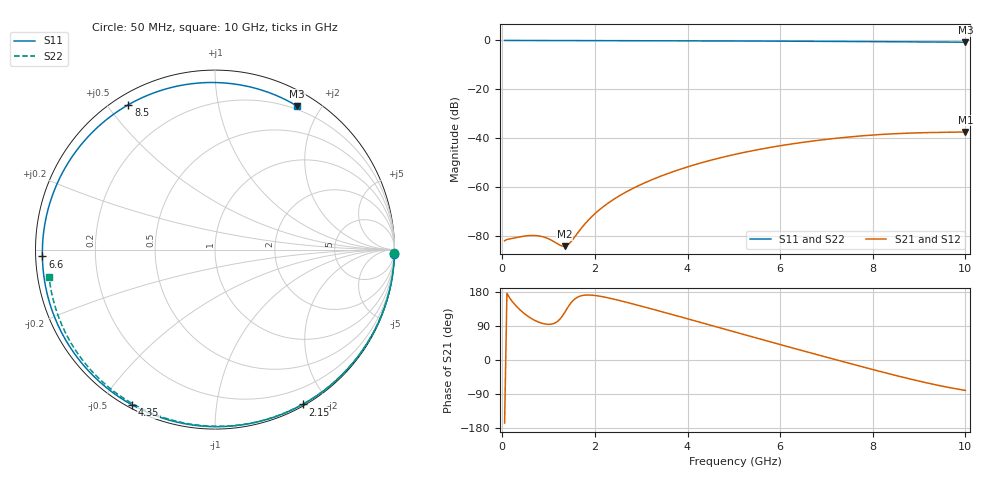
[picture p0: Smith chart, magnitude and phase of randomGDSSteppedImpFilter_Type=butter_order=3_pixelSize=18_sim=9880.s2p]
! freq	dB(S11)	phase(S11)	dB(S12)	phase(S12)
!  dB(S21)	phase(S21)	dB(S22)	phase(S22)
!S-par simulation data
#  GHz  S  DB  R 50
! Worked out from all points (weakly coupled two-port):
!   200 points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, 50 MHz to 10 GHz, reference 50 ohm
!   highest |S21| = -37.40 dB at 10 GHz (marker M1); lowest = -84.1 dB at 1.35 GHz (marker M2)
!   lowest |S11| = -0.7 dB at 10 GHz (marker M3), VSWR 24.42, Z = 8.09 + j85.6 ohm
!   |S11| at or under -10 dB: nowhere
!   |S22| runs from -0.6 to 0.0 dB; largest |S21 - S12| = 0
!   S11 on the Smith chart (normalised r, x): 50 MHz: 0, -79; 2.15 GHz: 0.02, -1.71; 4.35 GHz: 0.01, -0.60; 6.6 GHz: 0.02, -0.02; 8.5 GHz: 0.04, +0.57; 10 GHz: 0.16, +1.71
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0.05  -0.00 -1.4  -81.85 -166.4  -81.85 -166.4  -0.00 -1.0
0.7  -0.02 -20.2  -79.71 104.7  -79.71 104.7  -0.02 -13.7
1.35  -0.05 -38.5  -84.06 126.0  -84.06 126.0  -0.03 -26.2
1.55  -0.06 -44.1  -80.63 159.5  -80.63 159.5  -0.04 -30.0
1.75  -0.06 -49.6  -75.72 170.7  -75.72 170.7  -0.04 -33.8
2.15  -0.08 -60.5  -68.38 167.4  -68.38 167.4  -0.05 -41.3
2.7  -0.10 -75.3  -61.65 151.8  -61.65 151.8  -0.07 -51.4
3.4  -0.12 -93.7  -55.62 129.0  -55.62 129.0  -0.09 -64.0
4.35  -0.17 -118.1  -49.72 96.9  -49.72 96.9  -0.12 -80.5
5.05  -0.21 -136.0  -46.44 73.0  -46.44 73.0  -0.14 -92.2
5.85  -0.27 -157.0  -43.50 45.8  -43.50 45.8  -0.18 -105.2
6.6  -0.33 -177.7  -41.35 20.7  -41.35 20.7  -0.23 -117.0
6.7  -0.34 179.4  -41.10 17.4  -41.10 17.4  -0.23 -118.6
7.15  -0.39 166.1  -40.09 2.5  -40.09 2.5  -0.26 -125.6
7.55  -0.43 153.6  -39.33 -10.6  -39.33 -10.6  -0.30 -131.8
7.95  -0.47 140.3  -38.71 -23.6  -38.71 -23.6  -0.33 -138.0
8.35  -0.52 126.3  -38.23 -36.3  -38.23 -36.3  -0.37 -144.2
8.5  -0.53 120.8  -38.09 -40.9  -38.09 -40.9  -0.39 -146.6
8.9  -0.58 105.7  -37.79 -52.9  -37.79 -52.9  -0.43 -152.9
9.3  -0.62 89.7  -37.60 -63.9  -37.60 -63.9  -0.48 -159.2
9.65  -0.66 75.2  -37.50 -72.7  -37.50 -72.7  -0.52 -164.9
10  -0.71 60.2  -37.40 -80.2  -37.40 -80.2  -0.57 -170.6
